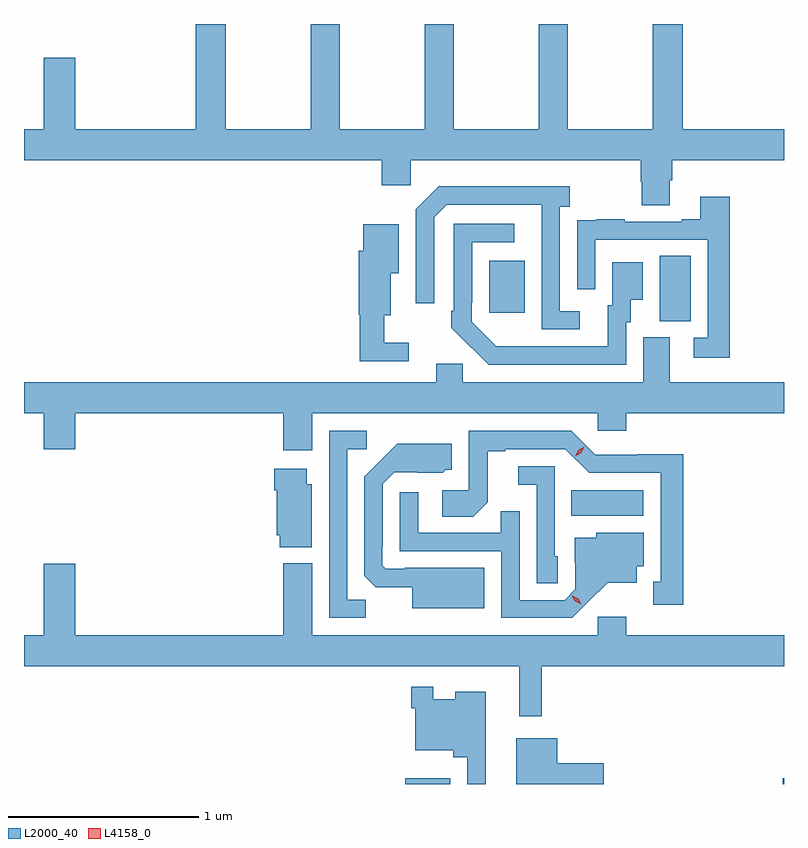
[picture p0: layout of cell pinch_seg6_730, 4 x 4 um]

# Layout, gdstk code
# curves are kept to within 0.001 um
import gdstk
lib = gdstk.Library(unit=1e-6, precision=1e-09)
def R(c, l, rs):  # rectangles x0, y0, x1, y1
    for r in rs: c.add(gdstk.rectangle(r[:2], r[2:], *l))
def P(c, l, *ps):  # polygons
    for p in ps: c.add(gdstk.Polygon(p, *l))
L2000_40 = (2000, 40)
L4158_0 = (4158, 0)

pinch_seg6_730 = lib.new_cell('pinch_seg6_730')
R(pinch_seg6_730, L2000_40, [(598.478,950.713,598.714,950.743), (600.464,950.713,600.471,950.743), (599.35,952.124,599.731,952.258), (599.816,953.149,599.98,953.492), (598.919,953.193,599.107,953.467)])
P(pinch_seg6_730, L2000_40, [(599.179,954.713),(599.179,954.16),(598.734,954.16),(598.734,954.713),(598.579,954.713),(598.579,954.16),(598.134,954.16),(598.134,954.713),(597.979,954.713),(597.979,954.16),(597.534,954.16),(597.534,954.713),(597.374,954.713),(597.374,954.16),(596.74,954.16),(596.74,954.535),(596.576,954.535),(596.576,954.16),(596.471,954.16),(596.471,953.996),(598.355,953.996),(598.355,953.865),(598.506,953.865),(598.506,953.996),(599.717,953.996),(599.717,953.883),(599.722,953.883),(599.722,953.758),(599.869,953.758),(599.869,953.89),(599.882,953.89),(599.882,953.996),(600.471,953.996),(600.471,954.16),(599.939,954.16),(599.939,954.713),(599.779,954.713),(599.779,954.16),(599.334,954.16),(599.334,954.713)],
  [(599.395,953.202),(599.292,953.202),(599.292,953.75),(599.344,953.75),(599.344,953.86),(598.654,953.86),(598.533,953.739),(598.533,953.244),(598.629,953.244),(598.629,953.697),(598.695,953.763),(599.195,953.763),(599.196,953.106),(599.395,953.106)],
  [(600.185,953.803),(600.029,953.803),(600.029,953.686),(599.933,953.686),(599.933,953.673),(599.633,953.673),(599.633,953.686),(599.485,953.686),(599.485,953.679),(599.383,953.679),(599.383,953.57),(599.382,953.57),(599.382,953.316),(599.478,953.316),(599.478,953.577),(600.069,953.577),(600.069,953.061),(599.997,953.061),(599.997,952.956),(600.185,952.956)],
  [(599.64,953.142),(599.665,953.142),(599.665,953.261),(599.728,953.261),(599.728,953.458),(599.567,953.458),(599.567,953.232),(599.543,953.232),(599.543,953.016),(598.956,953.017),(598.827,953.145),(598.827,953.245),(598.83,953.245),(598.83,953.565),(599.05,953.565),(599.05,953.661),(598.734,953.661),(598.734,953.203),(598.719,953.203),(598.719,953.115),(598.916,952.92),(599.64,952.92)],
  [(598.495,953.035),(598.366,953.035),(598.366,953.18),(598.402,953.18),(598.402,953.402),(598.444,953.402),(598.444,953.659),(598.256,953.659),(598.256,953.52),(598.232,953.52),(598.232,953.184),(598.237,953.184),(598.237,952.938),(598.495,952.938)],
  [(597.988,952.664),(599.49,952.664),(599.49,952.571),(599.642,952.571),(599.642,952.664),(600.471,952.664),(600.471,952.828),(599.869,952.828),(599.869,953.064),(599.729,953.064),(599.729,952.828),(598.779,952.828),(598.779,952.926),(598.64,952.926),(598.64,952.828),(596.471,952.828),(596.471,952.664),(596.576,952.664),(596.576,952.476),(596.74,952.476),(596.74,952.664),(597.836,952.664),(597.836,952.47),(597.988,952.47)],
  [(599.941,952.448),(599.7,952.448),(599.7,952.446),(599.478,952.446),(599.352,952.572),(598.812,952.572),(598.812,952.26),(598.671,952.26),(598.671,952.12),(598.835,952.12),(598.911,952.196),(598.911,952.464),(599.005,952.464),(599.005,952.476),(599.319,952.476),(599.445,952.35),(599.822,952.35),(599.822,951.777),(599.783,951.777),(599.783,951.657),(599.941,951.657)],
  [(598.269,951.683),(598.173,951.683),(598.173,952.476),(598.276,952.476),(598.276,952.572),(598.077,952.572),(598.077,951.588),(598.269,951.588)],
  [(598.894,951.85),(598.474,951.85),(598.474,951.846),(598.374,951.846),(598.356,951.864),(598.356,951.964),(598.359,951.964),(598.359,952.293),(598.419,952.353),(598.676,952.352),(598.692,952.368),(598.723,952.368),(598.723,952.504),(598.435,952.504),(598.263,952.33),(598.263,951.808),(598.322,951.749),(598.514,951.749),(598.514,951.638),(598.894,951.638)],
  [(599.28,951.912),(599.265,951.912),(599.265,952.386),(599.073,952.386),(599.073,952.289),(599.169,952.289),(599.169,951.769),(599.28,951.769)],
  [(597.985,952.29),(597.958,952.29),(597.958,952.372),(597.788,952.372),(597.788,952.259),(597.8,952.259),(597.8,952.023),(597.818,952.023),(597.818,951.959),(597.985,951.959)],
  [(599.44,951.671),(599.543,951.773),(599.695,951.773),(599.695,951.86),(599.734,951.86),(599.734,952.036),(599.484,952.036),(599.484,952.009),(599.369,952.009),(599.369,951.88),(599.373,951.88),(599.373,951.738),(599.316,951.681),(599.079,951.681),(599.079,952.148),(598.981,952.148),(598.981,952.035),(598.545,952.035),(598.545,952.249),(598.449,952.249),(598.449,951.939),(598.983,951.939),(598.983,951.588),(599.356,951.588)],
  [(599.195,951.332),(600.471,951.332),(600.471,951.496),(599.642,951.496),(599.642,951.592),(599.49,951.592),(599.49,951.496),(597.988,951.496),(597.988,951.874),(597.836,951.874),(597.836,951.496),(596.74,951.496),(596.74,951.871),(596.576,951.871),(596.576,951.496),(596.471,951.496),(596.471,951.332),(599.078,951.332),(599.078,951.069),(599.195,951.069)],
  [(598.9,951.199),(598.742,951.199),(598.742,951.16),(598.626,951.16),(598.626,951.226),(598.51,951.226),(598.51,951.113),(598.53,951.113),(598.53,950.891),(598.73,950.891),(598.73,950.855),(598.803,950.855),(598.803,950.713),(598.9,950.713)],
  [(599.521,950.822),(599.278,950.822),(599.278,950.953),(599.063,950.953),(599.063,950.713),(599.521,950.713)])
P(pinch_seg6_730, L4158_0, [(599.404,951.659),(599.373,951.674),(599.355,951.704),(599.355,951.704),(599.356,951.704),(599.387,951.689),(599.405,951.66),(599.405,951.659)],
  [(599.371,952.437),(599.371,952.437),(599.388,952.47),(599.42,952.489),(599.42,952.489),(599.42,952.489),(599.403,952.456),(599.371,952.437)])

lib.write_gds('pinch_seg6_730.gds')
